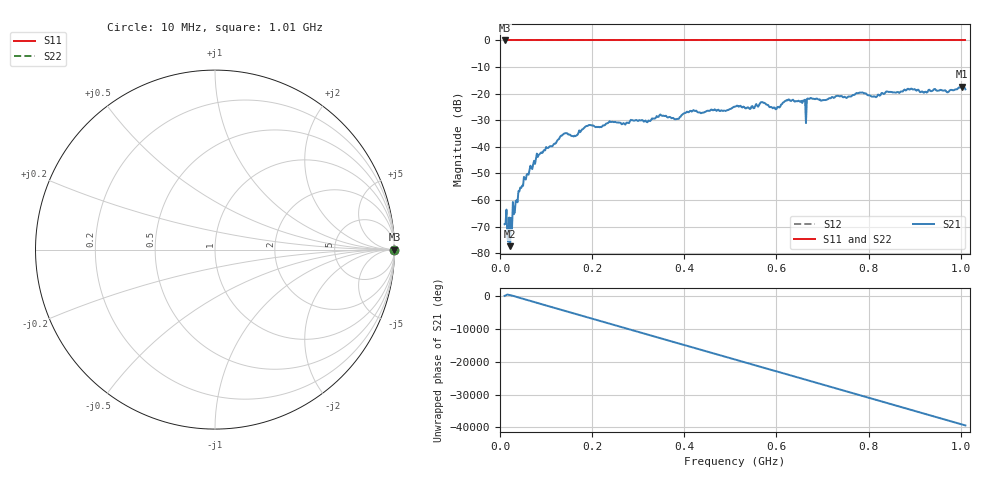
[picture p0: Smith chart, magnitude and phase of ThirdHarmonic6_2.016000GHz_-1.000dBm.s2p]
! 8/17/2025 12:12:27 AM
! C:\ANRITSUVNA\TEMP\TEMP.S2P
! CHANNEL.1
! TR.MEASUREMENT
! RAW.DATA
! RF.CORRECTION.OFF
! AVERAGING.OFF
! IF.BANDWIDTH: 5KHZ
! SWEEPTYPE:  FREQ.SWEEP(Linear)
! Reference Plane Port Info
! PORT:  PORT1  PORT2
! DISTANCE:  0  m  0  m
! TIME:  0  s  0  s
! PHASE.OFFSET:  0  deg.  0  deg.
! LOSS:  0  dB  0  dB
! REF.LOSS:  0  dB  0  dB
! REF.FREQ:  0  Hz  0  Hz
! Power Info
! POWER:  -20  dBm  -20  dBm
! EFF.POWER:  -20  dBm  -20  dBm
! SOURCE.ATTEN:  0  dB  0  dB
! TEST.ATTEN:  0  dB  0  dB
# GHZ S RI R 50.0
! FREQ.GHZ  S11RE  S11IM  S21RE  S21IM  S12RE  S12IM  S22RE  S22IM
!; PortSelection: Port_12
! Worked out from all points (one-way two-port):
!   501 points, 10 MHz to 1.01 GHz, reference 50 ohm
!   highest |S21| = -17.41 dB at 1.002 GHz (marker M1); lowest = -77.3 dB at 22 MHz (marker M2)
!   lowest |S11| = 0.0 dB at 10 MHz (marker M3)
!   |S11| at or under -10 dB: nowhere
!   |S22| runs from 0.0 to 0.0 dB; largest |S21 - S12| = 1.1
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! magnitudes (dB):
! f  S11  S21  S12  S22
! 10 MHz  0.0  -69.1  0.0  0.0
! 22 MHz  0.0  -77.3  0.0  0.0
! 32 MHz  0.0  -64.6  0.0  0.0
! 44 MHz  0.0  -55.3  0.0  0.0
! 82 MHz  0.0  -43.8  0.0  0.0
! 136 MHz  0.0  -35.4  0.0  0.0
! 162 MHz  0.0  -35.8  0.0  0.0
! 178 MHz  0.0  -33.5  0.0  0.0
! 344 MHz  0.0  -28.7  0.0  0.0
! 384 MHz  0.0  -29.5  0.0  0.0
! 416 MHz  0.0  -26.7  0.0  0.0
! 510 MHz  0.0  -24.9  0.0  0.0
! 570 MHz  0.0  -23.2  0.0  0.0
! 596 MHz  0.0  -25.2  0.0  0.0
! 624 MHz  0.0  -22.5  0.0  0.0
! 658 MHz  0.0  -22.6  0.0  0.0
! 660 MHz  0.0  -22.5  0.0  0.0
! 678 MHz  0.0  -21.9  0.0  0.0
! 814 MHz  0.0  -21.1  0.0  0.0
! 844 MHz  0.0  -19.4  0.0  0.0
! 1.002 GHz  0.0  -17.4  0.0  0.0
! 1.01 GHz  0.0  -18.4  0.0  0.0
